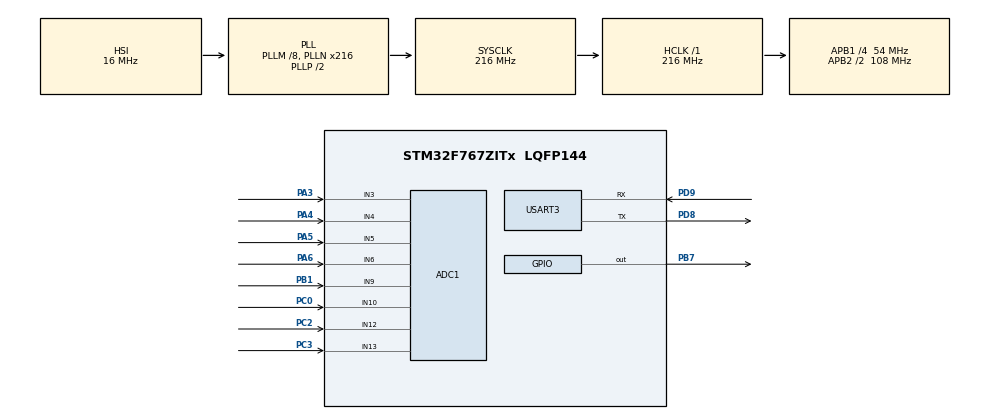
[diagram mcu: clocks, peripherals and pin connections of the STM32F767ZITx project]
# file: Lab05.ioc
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ADC1.Channel-1\#ChannelRegularConversion=ADC_CHANNEL_3
ADC1.Channel-2\#ChannelRegularConversion=ADC_CHANNEL_4
ADC1.Channel-3\#ChannelRegularConversion=ADC_CHANNEL_5
ADC1.Channel-4\#ChannelRegularConversion=ADC_CHANNEL_6
ADC1.Channel-5\#ChannelRegularConversion=ADC_CHANNEL_9
ADC1.Channel-6\#ChannelRegularConversion=ADC_CHANNEL_10
ADC1.Channel-7\#ChannelRegularConversion=ADC_CHANNEL_12
ADC1.Channel-8\#ChannelRegularConversion=ADC_CHANNEL_13
ADC1.ClockPrescaler=ADC_CLOCK_SYNC_PCLK_DIV8
ADC1.ContinuousConvMode=DISABLE
ADC1.DMAContinuousRequests=ENABLE
ADC1.EOCSelection=ADC_EOC_SEQ_CONV
ADC1.NbrOfConversion=8
ADC1.NbrOfConversionFlag=1
ADC1.Rank-1\#ChannelRegularConversion=1
ADC1.Rank-2\#ChannelRegularConversion=2
ADC1.Rank-3\#ChannelRegularConversion=3
ADC1.Rank-4\#ChannelRegularConversion=4
ADC1.Rank-5\#ChannelRegularConversion=5
ADC1.Rank-6\#ChannelRegularConversion=6
ADC1.Rank-7\#ChannelRegularConversion=7
ADC1.Rank-8\#ChannelRegularConversion=8
ADC1.SamplingTime-1\#ChannelRegularConversion=ADC_SAMPLETIME_3CYCLES
ADC1.SamplingTime-2\#ChannelRegularConversion=ADC_SAMPLETIME_3CYCLES
ADC1.SamplingTime-3\#ChannelRegularConversion=ADC_SAMPLETIME_3CYCLES
ADC1.SamplingTime-4\#ChannelRegularConversion=ADC_SAMPLETIME_3CYCLES
ADC1.SamplingTime-5\#ChannelRegularConversion=ADC_SAMPLETIME_3CYCLES
ADC1.SamplingTime-6\#ChannelRegularConversion=ADC_SAMPLETIME_3CYCLES
ADC1.SamplingTime-7\#ChannelRegularConversion=ADC_SAMPLETIME_3CYCLES
ADC1.SamplingTime-8\#ChannelRegularConversion=ADC_SAMPLETIME_3CYCLES
ADC1.master=1
Dma.ADC1.0.Direction=DMA_PERIPH_TO_MEMORY
Dma.ADC1.0.FIFOMode=DMA_FIFOMODE_DISABLE
Dma.ADC1.0.Instance=DMA2_Stream0
Dma.ADC1.0.MemDataAlignment=DMA_MDATAALIGN_WORD
Dma.ADC1.0.MemInc=DMA_MINC_ENABLE
Dma.ADC1.0.Mode=DMA_CIRCULAR
Dma.ADC1.0.PeriphDataAlignment=DMA_PDATAALIGN_WORD
Dma.ADC1.0.PeriphInc=DMA_PINC_DISABLE
Dma.ADC1.0.Priority=DMA_PRIORITY_LOW
Dma.Request0=ADC1
Mcu.Family=STM32F7
Mcu.Name=STM32F767ZITx
Mcu.Package=LQFP144
NVIC.ADC_IRQn=true\:0\:0\:false\:false\:true\:true\:true\:true
NVIC.DMA2_Stream0_IRQn=true\:1\:0\:true\:false\:true\:false\:true\:true
NVIC.PriorityGroup=NVIC_PRIORITYGROUP_1
NVIC.USART3_IRQn=true\:0\:0\:false\:false\:true\:true\:true\:true
PA3.Signal=ADCx_IN3
PA4.Signal=ADCx_IN4
PA5.Signal=ADCx_IN5
PA6.Signal=ADCx_IN6
PB1.Signal=ADCx_IN9
PB7.PinState=GPIO_PIN_SET
PB7.Signal=GPIO_Output
PC0.Signal=ADCx_IN10
PC2.Signal=ADCx_IN12
PC3.Signal=ADCx_IN13
PD8.Mode=Asynchronous
PD8.Signal=USART3_TX
PD9.Mode=Asynchronous
PD9.Signal=USART3_RX
ProjectManager.HeapSize=0x200
ProjectManager.StackSize=0x400
ProjectManager.TargetToolchain=STM32CubeIDE
RCC.AHBFreq_Value=216000000
RCC.APB1CLKDivider=RCC_HCLK_DIV4
RCC.APB1Freq_Value=54000000
RCC.APB1TimFreq_Value=108000000
RCC.APB2CLKDivider=RCC_HCLK_DIV2
RCC.APB2Freq_Value=108000000
RCC.APB2TimFreq_Value=216000000
RCC.CortexFreq_Value=216000000
RCC.HCLKFreq_Value=216000000
RCC.HSE_VALUE=25000000
RCC.HSI_VALUE=16000000
RCC.LSE_VALUE=32768
RCC.PLLM=8
RCC.PLLN=216
RCC.SYSCLKFreq_VALUE=216000000
RCC.SYSCLKSource=RCC_SYSCLKSOURCE_PLLCLK
RCC.USBFreq_Value=216000000
RCC.VCOOutputFreq_Value=432000000
SH.ADCx_IN10.0=ADC1_IN10,IN10
SH.ADCx_IN12.0=ADC1_IN12,IN12
SH.ADCx_IN13.0=ADC1_IN13,IN13
SH.ADCx_IN3.0=ADC1_IN3,IN3
SH.ADCx_IN4.0=ADC1_IN4,IN4
SH.ADCx_IN5.0=ADC1_IN5,IN5
SH.ADCx_IN6.0=ADC1_IN6,IN6
SH.ADCx_IN9.0=ADC1_IN9,IN9
USART3.VirtualMode-Asynchronous=VM_ASYNC
board=custom

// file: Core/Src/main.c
/* USER CODE BEGIN Header */
/**
  ******************************************************************************
  * @file           : main.c
  * @brief          : Main program body
  ******************************************************************************
  * @attention
  *
  * Copyright (c) 2023 STMicroelectronics.
  * All rights reserved.
  *
  * This software is licensed under terms that can be found in the LICENSE file
  * in the root directory of this software component.
  * If no LICENSE file comes with this software, it is provided AS-IS.
  *
  ******************************************************************************
  */
/* USER CODE END Header */
#include "main.h"
#include "adc.h"
#include "dma.h"
#include "usart.h"
#include "gpio.h"

/* USER CODE BEGIN PV */
volatile uint16_t num;
volatile uint32_t adc_dma[8];
char res[30];
char buffer[300];
/* USER CODE END PV */

void SystemClock_Config(void);

int main(void)
{

  /* MCU Configuration--------------------------------------------------------*/

  /* Reset of all peripherals, Initializes the Flash interface and the Systick. */
  HAL_Init();

  /* Configure the system clock */
  SystemClock_Config();

  /* Initialize all configured peripherals */
  MX_GPIO_Init();
  MX_DMA_Init();
  MX_ADC1_Init();
  MX_USART3_UART_Init();

  /* Infinite loop */
  while (1)
    {

    /* USER CODE BEGIN 3 */
  	  HAL_ADC_Start_DMA(&hadc1, (uint32_t *) adc_dma , 8);
  	  snprintf(buffer,300,"R1 : CH_1: %d, CH_2: %d, CH_3: %d, CH_4: %d\r\nR2 : CH_5: %d, CH_6: %d, CH_7: %d, CH_8: %d\r\n\r\n"
  			  , adc_dma[0], adc_dma[1], adc_dma[2], adc_dma[3], adc_dma[4], adc_dma[5], adc_dma[6], adc_dma[7]);
  	  while (__HAL_UART_GET_FLAG(&huart3, UART_FLAG_TC) == RESET) {}
  	  HAL_UART_Transmit(&huart3, (uint8_t*) buffer, strlen(buffer), 1000);
  	  HAL_Delay(500);
    }
  /* USER CODE END 3 */
}

void SystemClock_Config(void)
{
  RCC_OscInitTypeDef RCC_OscInitStruct = {0};
  RCC_ClkInitTypeDef RCC_ClkInitStruct = {0};

  /** Configure the main internal regulator output voltage
  */
  __HAL_RCC_PWR_CLK_ENABLE();
  __HAL_PWR_VOLTAGESCALING_CONFIG(PWR_REGULATOR_VOLTAGE_SCALE1);

  /** Initializes the RCC Oscillators according to the specified parameters
  * in the RCC_OscInitTypeDef structure.
  */
  RCC_OscInitStruct.OscillatorType = RCC_OSCILLATORTYPE_HSI;
  RCC_OscInitStruct.HSIState = RCC_HSI_ON;
  RCC_OscInitStruct.HSICalibrationValue = RCC_HSICALIBRATION_DEFAULT;
  RCC_OscInitStruct.PLL.PLLState = RCC_PLL_ON;
  RCC_OscInitStruct.PLL.PLLSource = RCC_PLLSOURCE_HSI;
  RCC_OscInitStruct.PLL.PLLM = 8;
  RCC_OscInitStruct.PLL.PLLN = 216;
  RCC_OscInitStruct.PLL.PLLP = RCC_PLLP_DIV2;
  RCC_OscInitStruct.PLL.PLLQ = 2;
  RCC_OscInitStruct.PLL.PLLR = 2;
  if (HAL_RCC_OscConfig(&RCC_OscInitStruct) != HAL_OK)
  {
    Error_Handler();
  }

  /** Activate the Over-Drive mode
  */
  if (HAL_PWREx_EnableOverDrive() != HAL_OK)
  {
    Error_Handler();
  }

  /** Initializes the CPU, AHB and APB buses clocks
  */
  RCC_ClkInitStruct.ClockType = RCC_CLOCKTYPE_HCLK|RCC_CLOCKTYPE_SYSCLK
                              |RCC_CLOCKTYPE_PCLK1|RCC_CLOCKTYPE_PCLK2;
  RCC_ClkInitStruct.SYSCLKSource = RCC_SYSCLKSOURCE_PLLCLK;
  RCC_ClkInitStruct.AHBCLKDivider = RCC_SYSCLK_DIV1;
  RCC_ClkInitStruct.APB1CLKDivider = RCC_HCLK_DIV4;
  RCC_ClkInitStruct.APB2CLKDivider = RCC_HCLK_DIV2;

  if (HAL_RCC_ClockConfig(&RCC_ClkInitStruct, FLASH_LATENCY_7) != HAL_OK)
  {
    Error_Handler();
  }
}

/* USER CODE BEGIN 4 */
void HAL_ADC_ConvHalfCpltCallback(ADC_HandleTypeDef* hadc1){
	HAL_GPIO_WritePin(GPIOB, GPIO_PIN_7, 1);
	HAL_Delay(500);
}
void HAL_ADC_ConvCpltCallback(ADC_HandleTypeDef* hadc1){
	HAL_GPIO_WritePin(GPIOB, GPIO_PIN_7, 0);
	HAL_Delay(500);
}
/* USER CODE END 4 */

void Error_Handler(void)
{
  __disable_irq();
  while (1)
  {
  }
}
